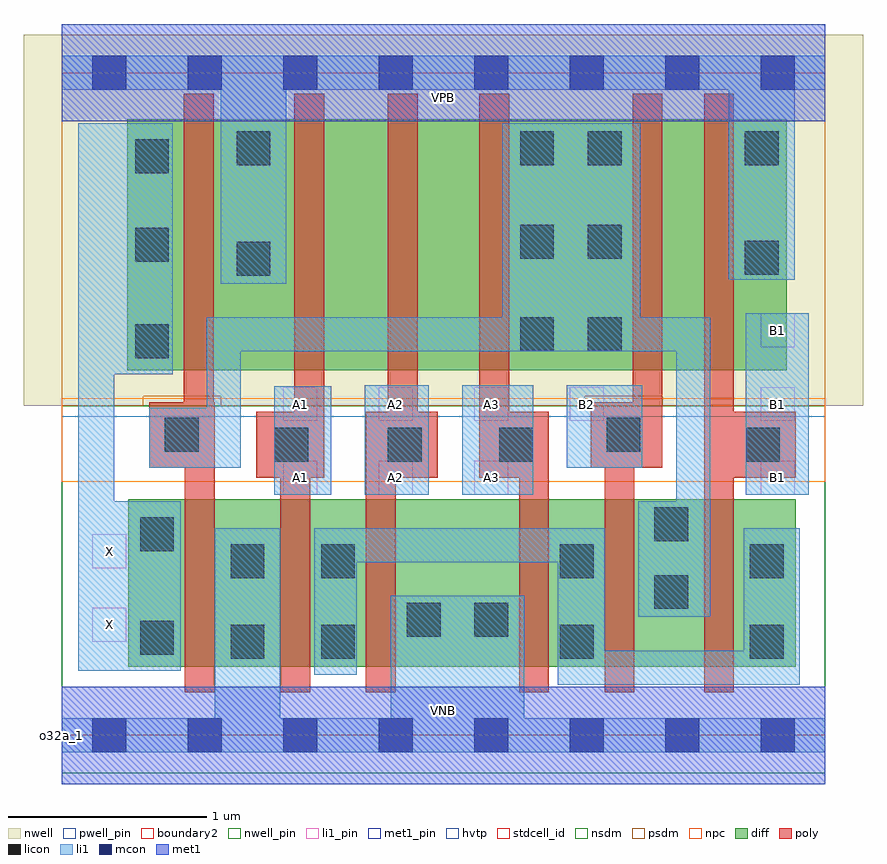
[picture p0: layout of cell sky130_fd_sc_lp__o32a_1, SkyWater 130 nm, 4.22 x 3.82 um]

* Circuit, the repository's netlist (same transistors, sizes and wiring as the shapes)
* Copyright 2020 The SkyWater PDK Authors
*
* Licensed under the Apache License, Version 2.0 (the "License");
* you may not use this file except in compliance with the License.
* You may obtain a copy of the License at
*
*     https://www.apache.org/licenses/LICENSE-2.0
*
* Unless required by applicable law or agreed to in writing, software
* distributed under the License is distributed on an "AS IS" BASIS,
* WITHOUT WARRANTIES OR CONDITIONS OF ANY KIND, either express or implied.
* See the License for the specific language governing permissions and
* limitations under the License.
*
* SPDX-License-Identifier: Apache-2.0

.SUBCKT sky130_fd_sc_lp__o32a_1 A1 A2 A3 B1 B2 VGND VNB VPB VPWR X
*.PININFO A1:I A2:I A3:I B1:I B2:I VGND:I VNB:I VPB:I VPWR:I X:O
MMPA0 VPWR A1 sndA1 VPB sky130_fd_pr__pfet_01v8_hvt m=1 w=1.26U l=0.15U mult=1
+ sa=0.265 sb=0.265 sd=0.28 area=0.063 perim=1.14
MMPA1 sndA1 A2 sndA2 VPB sky130_fd_pr__pfet_01v8_hvt m=1 w=1.26U l=0.15U mult=1
+ sa=0.265 sb=0.265 sd=0.28 area=0.063 perim=1.14
MMPA2 sndA2 A3 y VPB sky130_fd_pr__pfet_01v8_hvt m=1 w=1.26U l=0.15U mult=1 sa=0.265
+ sb=0.265 sd=0.28 area=0.063 perim=1.14
MMPB0 VPWR B1 sndB1 VPB sky130_fd_pr__pfet_01v8_hvt m=1 w=1.26U l=0.15U mult=1
+ sa=0.265 sb=0.265 sd=0.28 area=0.063 perim=1.14
MMPB1 sndB1 B2 y VPB sky130_fd_pr__pfet_01v8_hvt m=1 w=1.26U l=0.15U mult=1 sa=0.265
+ sb=0.265 sd=0.28 area=0.063 perim=1.14
MMIPX X y VPWR VPB sky130_fd_pr__pfet_01v8_hvt m=1 w=1.26U l=0.15U mult=1 sa=0.265
+ sb=0.265 sd=0.28 area=0.063 perim=1.14
MMNA0 pndA A1 VGND VNB sky130_fd_pr__nfet_01v8 m=1 w=0.84U l=0.15U mult=1 sa=0.265
+ sb=0.265 sd=0.28 area=0.063 perim=1.14
MMNA1 pndA A2 VGND VNB sky130_fd_pr__nfet_01v8 m=1 w=0.84U l=0.15U mult=1 sa=0.265
+ sb=0.265 sd=0.28 area=0.063 perim=1.14
MMNA2 pndA A3 VGND VNB sky130_fd_pr__nfet_01v8 m=1 w=0.84U l=0.15U mult=1 sa=0.265
+ sb=0.265 sd=0.28 area=0.063 perim=1.14
MMNB0 y B1 pndA VNB sky130_fd_pr__nfet_01v8 m=1 w=0.84U l=0.15U mult=1 sa=0.265
+ sb=0.265 sd=0.28 area=0.063 perim=1.14
MMNB1 y B2 pndA VNB sky130_fd_pr__nfet_01v8 m=1 w=0.84U l=0.15U mult=1 sa=0.265
+ sb=0.265 sd=0.28 area=0.063 perim=1.14
MMINX X y VGND VNB sky130_fd_pr__nfet_01v8 m=1 w=0.84U l=0.15U mult=1 sa=0.265
+ sb=0.265 sd=0.28 area=0.063 perim=1.14
.ENDS sky130_fd_sc_lp__o32a_1

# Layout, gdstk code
import gdstk
lib = gdstk.Library(unit=1e-6, precision=1e-09)
def R(c, l, rs):  # rectangles x0, y0, x1, y1
    for r in rs: c.add(gdstk.rectangle(r[:2], r[2:], *l))
def A(c, l, x, y, w, h, nx, ny, dx, dy):  # array of equal rectangles
    R(c, l, [(x+i*dx, y+j*dy, x+i*dx+w, y+j*dy+h) for i in range(nx) for j in range(ny)])
def P(c, l, *ps):  # polygons
    for p in ps: c.add(gdstk.Polygon(p, *l))
nwell_pin = (64, 16)
nwell = (64, 20)
diff = (65, 20)
poly = (66, 20)
licon = (66, 44)
li1_pin = (67, 16)
li1 = (67, 20)
mcon = (67, 44)
met1_pin = (68, 16)
met1 = (68, 20)
hvtp = (78, 44)
stdcell_id = (81, 4)
nsdm = (93, 44)
psdm = (94, 20)
npc = (95, 20)
pwell_pin = (122, 16)
boundary2 = (236, 0)

sky130_fd_sc_lp__o32a_1 = lib.new_cell('sky130_fd_sc_lp__o32a_1')
R(sky130_fd_sc_lp__o32a_1, nwell_pin, [(0,3.085,3.84,3.33)])
R(sky130_fd_sc_lp__o32a_1, nwell, [(-0.19,1.655,4.03,3.52)])
R(sky130_fd_sc_lp__o32a_1, diff, [(0.335,0.345,3.69,1.185), (0.33,1.835,3.645,3.095)])
R(sky130_fd_sc_lp__o32a_1, poly, [(2.87,1.675,3.02,3.225)])
P(sky130_fd_sc_lp__o32a_1, poly, [(0.77,1.675),(0.765,1.675),(0.765,3.225),(0.615,3.225),(0.615,1.675),(0.44,1.675),(0.44,1.345),(0.62,1.345),(0.62,0.215),(0.77,0.215)],
  [(1.32,3.225),(1.17,3.225),(1.17,1.625),(0.98,1.625),(0.98,1.295),(1.1,1.295),(1.1,0.215),(1.25,0.215),(1.25,1.295),(1.32,1.295)],
  [(1.89,1.625),(1.79,1.625),(1.79,3.225),(1.64,3.225),(1.64,1.625),(1.53,1.625),(1.53,0.215),(1.68,0.215),(1.68,1.295),(1.89,1.295)],
  [(2.45,1.625),(2.25,1.625),(2.25,3.225),(2.1,3.225),(2.1,1.295),(2.3,1.295),(2.3,0.215),(2.45,0.215)],
  [(3.02,1.675),(2.66,1.675),(2.66,1.345),(2.73,1.345),(2.73,0.215),(2.88,0.215),(2.88,1.345),(3.02,1.345)],
  [(3.69,1.625),(3.38,1.625),(3.38,3.225),(3.23,3.225),(3.23,0.215),(3.38,0.215),(3.38,1.295),(3.69,1.295)])
R(sky130_fd_sc_lp__o32a_1, licon, [(0.85,0.385,1.02,0.555), (1.305,0.385,1.475,0.555), (2.505,0.385,2.675,0.555), (3.46,0.385,3.63,0.555), (0.395,0.405,0.565,0.575), (1.735,0.495,1.905,0.665), (2.075,0.495,2.245,0.665), (2.98,0.635,3.15,0.805), (0.85,0.79,1.02,0.96), (1.305,0.79,1.475,0.96), (2.505,0.79,2.675,0.96), (3.46,0.79,3.63,0.96), (0.395,0.925,0.565,1.095), (2.98,0.975,3.15,1.145), (1.07,1.375,1.24,1.545), (1.64,1.375,1.81,1.545), (2.2,1.375,2.37,1.545), (3.44,1.375,3.61,1.545), (0.52,1.425,0.69,1.595), (2.74,1.425,2.91,1.595), (0.37,1.895,0.54,2.065), (2.305,1.93,2.475,2.1), (2.645,1.93,2.815,2.1), (0.88,2.31,1.05,2.48), (3.435,2.315,3.605,2.485), (0.37,2.38,0.54,2.55), (2.305,2.395,2.475,2.565), (2.645,2.395,2.815,2.565), (0.37,2.825,0.54,2.995), (0.88,2.865,1.05,3.035), (2.305,2.865,2.475,3.035), (2.645,2.865,2.815,3.035), (3.435,2.865,3.605,3.035)])
A(sky130_fd_sc_lp__o32a_1, li1_pin, 1.115, 1.21, 0.17, 0.17, 3, 1, 0.48, 0)
A(sky130_fd_sc_lp__o32a_1, li1_pin, 3.515, 1.21, 0.17, 0.17, 1, 3, 0, 0.37)
A(sky130_fd_sc_lp__o32a_1, li1_pin, 1.115, 1.58, 0.17, 0.17, 4, 1, 0.48, 0)
R(sky130_fd_sc_lp__o32a_1, li1_pin, [(0.155,0.47,0.325,0.64), (0.155,0.84,0.325,1.01)])
R(sky130_fd_sc_lp__o32a_1, li1, [(1.07,1.21,1.355,1.755), (1.525,1.21,1.845,1.76), (2.015,1.21,2.37,1.76), (3.44,1.21,3.755,2.12), (2.54,1.345,2.92,1.76)])
P(sky130_fd_sc_lp__o32a_1, li1, [(3.355,2.29),(3.355,3.245),(1.13,3.245),(1.13,2.27),(0.8,2.27),(0.8,3.245),(0,3.245),(0,3.415),(3.84,3.415),(3.84,3.245),(3.685,3.245),(3.685,2.29)],
  [(1.655,0.085),(1.655,0.7),(2.325,0.7),(2.325,0.085),(3.84,0.085),(3.84,-0.085),(0,-0.085),(0,0.085),(0.77,0.085),(0.77,1.04),(1.1,1.04),(1.1,0.085)],
  [(0.73,2.1),(2.215,2.1),(2.215,3.075),(2.91,3.075),(2.91,2.1),(3.26,2.1),(3.26,0.595),(2.9,0.595),(2.9,1.175),(3.09,1.175),(3.09,1.93),(0.9,1.93),(0.9,1.345),(0.44,1.345),(0.44,1.645),(0.73,1.645)],
  [(0.265,1.815),(0.265,1.175),(0.6,1.175),(0.6,0.325),(0.085,0.325),(0.085,3.075),(0.56,3.075),(0.56,1.815)],
  [(2.73,0.425),(3.43,0.425),(3.43,1.04),(3.71,1.04),(3.71,0.255),(2.495,0.255),(2.495,0.87),(1.485,0.87),(1.485,0.305),(1.27,0.305),(1.27,1.04),(2.73,1.04)])
A(sky130_fd_sc_lp__o32a_1, mcon, 0.155, -0.085, 0.17, 0.17, 8, 2, 0.48, 3.33)
R(sky130_fd_sc_lp__o32a_1, met1_pin, [(0,0,3.84,0.245), (0,3.085,3.84,3.33)])
R(sky130_fd_sc_lp__o32a_1, met1, [(0,-0.245,3.84,0.245), (0,3.085,3.84,3.575)])
R(sky130_fd_sc_lp__o32a_1, hvtp, [(0,1.6,3.84,3.33)])
R(sky130_fd_sc_lp__o32a_1, stdcell_id, [(0,0,3.84,3.33)])
R(sky130_fd_sc_lp__o32a_1, nsdm, [(0,-0.19,3.84,1.655)])
P(sky130_fd_sc_lp__o32a_1, psdm, [(3.84,3.52),(0,3.52),(0,1.655),(0.41,1.655),(0.41,1.705),(0.8,1.705),(0.8,1.655),(2.63,1.655),(2.63,1.705),(3.02,1.705),(3.02,1.655),(3.84,1.655)])
R(sky130_fd_sc_lp__o32a_1, npc, [(0,1.275,3.84,1.695)])
R(sky130_fd_sc_lp__o32a_1, pwell_pin, [(0,0,3.84,0.245)])
R(sky130_fd_sc_lp__o32a_1, boundary2, [(0,0,3.84,3.33)])
sky130_fd_sc_lp__o32a_1.add(gdstk.Label('VNB', (1.92,0.123), layer=64, texttype=59))
sky130_fd_sc_lp__o32a_1.add(gdstk.Label('VPB', (1.92,3.208), layer=64, texttype=5))
sky130_fd_sc_lp__o32a_1.add(gdstk.Label('o32a_1', (0,0), layer=83, texttype=44))
sky130_fd_sc_lp__o32a_1.add(gdstk.Label('VPWR', (1.92,3.208), layer=68, texttype=5))
sky130_fd_sc_lp__o32a_1.add(gdstk.Label('VGND', (1.92,0.123), layer=68, texttype=5))
sky130_fd_sc_lp__o32a_1.add(gdstk.Label('A1', (1.2,1.295), layer=67, texttype=5))
sky130_fd_sc_lp__o32a_1.add(gdstk.Label('A1', (1.2,1.665), layer=67, texttype=5))
sky130_fd_sc_lp__o32a_1.add(gdstk.Label('A2', (1.68,1.295), layer=67, texttype=5))
sky130_fd_sc_lp__o32a_1.add(gdstk.Label('A2', (1.68,1.665), layer=67, texttype=5))
sky130_fd_sc_lp__o32a_1.add(gdstk.Label('A3', (2.16,1.295), layer=67, texttype=5))
sky130_fd_sc_lp__o32a_1.add(gdstk.Label('A3', (2.16,1.665), layer=67, texttype=5))
sky130_fd_sc_lp__o32a_1.add(gdstk.Label('B1', (3.6,1.295), layer=67, texttype=5))
sky130_fd_sc_lp__o32a_1.add(gdstk.Label('B1', (3.6,1.665), layer=67, texttype=5))
sky130_fd_sc_lp__o32a_1.add(gdstk.Label('B1', (3.6,2.035), layer=67, texttype=5))
sky130_fd_sc_lp__o32a_1.add(gdstk.Label('B2', (2.64,1.665), layer=67, texttype=5))
sky130_fd_sc_lp__o32a_1.add(gdstk.Label('X', (0.24,0.555), layer=67, texttype=5))
sky130_fd_sc_lp__o32a_1.add(gdstk.Label('X', (0.24,0.925), layer=67, texttype=5))

lib.write_gds('sky130_fd_sc_lp__o32a_1.gds')
